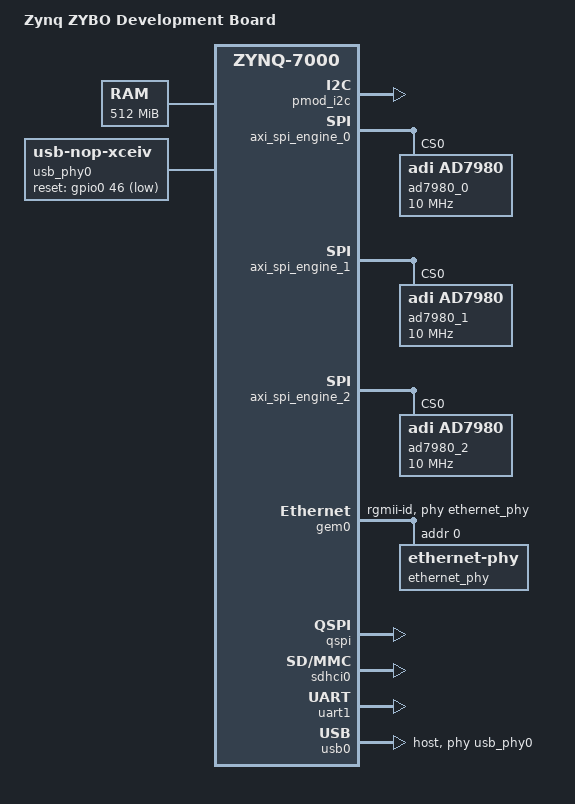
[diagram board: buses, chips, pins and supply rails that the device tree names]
/*
 *  Copyright (C) 2011 - 2014 Xilinx
 *  Copyright (C) 2012 National Instruments Corp.
 *
 * This software is licensed under the terms of the GNU General Public
 * License version 2, as published by the Free Software Foundation, and
 * may be copied, distributed, and modified under those terms.
 *
 * This program is distributed in the hope that it will be useful,
 * but WITHOUT ANY WARRANTY; without even the implied warranty of
 * MERCHANTABILITY or FITNESS FOR A PARTICULAR PURPOSE.  See the
 * GNU General Public License for more details.
 */
/dts-v1/;
#include "zynq-7000.dtsi"

/ {
	model = "Zynq ZYBO Development Board";
	compatible = "digilent,zynq-zybo", "xlnx,zynq-7000";

	aliases {
		ethernet0 = &gem0;
		serial0 = &uart1;
		spi0 = &qspi;
		mmc0 = &sdhci0;
	};

	memory {
		device_type = "memory";
		reg = <0x0 0x20000000>;
	};

	chosen {
		bootargs = "";
		stdout-path = "serial0:115200n8";
	};

	usb_phy0: phy0 {
		compatible = "usb-nop-xceiv";
		#phy-cells = <0>;
		reset-gpios = <&gpio0 46 1>;
	};
};

&clkc {
	ps-clk-frequency = <50000000>;
};

&gem0 {
	status = "okay";
	phy-mode = "rgmii-id";
	phy-handle = <&ethernet_phy>;

	ethernet_phy: ethernet-phy@0 {
		reg = <0>;
	};
};

&qspi {
	status = "okay";
};

&sdhci0 {
	status = "okay";
};

&uart1 {
	status = "okay";
};

&usb0 {
	status = "okay";
	dr_mode = "host";
	usb-phy = <&usb_phy0>;
};

/ {
	fpga_axi: fpga-axi@0 {
		compatible = "simple-bus";
		#address-cells = <0x1>;
		#size-cells = <0x1>;
		ranges;
		interrupt-parent = <&intc>;

            pmod_i2c: i2c@43C00000 {
		compatible = "xlnx,axi-iic-1.01.b", "xlnx,xps-iic-2.00.a";
		interrupt-parent = <&intc>;
		interrupts = <0 56 0x4>;
		reg = <0x43C00000 0x10000>;

		#size-cells = <0>;
		#address-cells = <1>;
            };
		
            rx_dma0: dma@43C10000 {
                    compatible = "adi,axi-dmac-1.00.a";
                    reg = <0x43C10000 0x10000>;
                    #dma-cells = <1>;
                    interrupts = <0 52 0>;
                    clocks = <&clkc 15>;

                    dma-channel {
                            adi,buswidth = <64>;
                            adi,type = <0>;
                    };
            };

            rx_dma1: dma@43C20000 {
                    compatible = "adi,axi-dmac-1.00.a";
                    reg = <0x43C20000 0x10000>;
                    #dma-cells = <1>;
                    interrupts = <0 29 0>;
                    clocks = <&clkc 15>;

                    dma-channel {
                            adi,buswidth = <64>;
                            adi,type = <0>;
                    };
            };

            rx_dma2: dma@43C30000 {
                    compatible = "adi,axi-dmac-1.00.a";
                    reg = <0x43C30000 0x10000>;
                    #dma-cells = <1>;
                    interrupts = <0 28 0>;
                    clocks = <&clkc 15>;

                    dma-channel {
                            adi,buswidth = <64>;
                            adi,type = <0>;
                    };
            };            
            
            axi_spi_engine_0: axi-spi-engine@0x43C40000{
                    compatible = "adi,axi-spi-engine-1.00.a";
                    reg = <0x43C40000 0x1000>;
                    interrupt-parent = <&intc>;
                    interrupts = <0 55 4>;
                    clocks = <&clkc 15 &clkc 15>;
                    clock-names = "s_axi_aclk", "spi_clk";
                    num-cs = <1>;


                    
                    #address-cells = <0x1>;
                    #size-cells = <0x0>;

                    ad7980_0: AD7980-JB@0-jb {
                            compatible = "adi,ad7980";
                            reg = <0>;
                            spi-cpha;
                            spi-cpol;
                            spi-max-frequency = <10000000>;

			    dmas = <&rx_dma0 0>;
			    dma-names = "rx";
			    
                    };
            };

            axi_spi_engine_1: axi-spi-engine@0x43C50000{
                    compatible = "adi,axi-spi-engine-1.00.a";
                    reg = <0x43C50000 0x1000>;
                    interrupt-parent = <&intc>;
                    interrupts = <0 54 4>;
                    clocks = <&clkc 15 &clkc 15>;
                    clock-names = "s_axi_aclk", "spi_clk";
                    num-cs = <1>;


                    
                    #address-cells = <0x1>;
                    #size-cells = <0x0>;

		    ad7980_1: AD7980-JC@1-jc {
                            compatible = "adi,ad7980";
                            reg = <0>;
                            spi-cpha;
                            spi-cpol;
                            spi-max-frequency = <10000000>;

			    dmas = <&rx_dma1 0>;
			    dma-names = "rx";
			    
                    };
            };

            axi_spi_engine_2: axi-spi-engine@0x43C60000{
                    compatible = "adi,axi-spi-engine-1.00.a";
                    reg = <0x43C60000 0x1000>;
                    interrupt-parent = <&intc>;
                    interrupts = <0 53 4>;
                    clocks = <&clkc 15 &clkc 15>;
                    clock-names = "s_axi_aclk", "spi_clk";
                    num-cs = <1>;


                    
                    #address-cells = <0x1>;
                    #size-cells = <0x0>;

		    ad7980_2: AD7980-JD@2-jd {
                            compatible = "adi,ad7980";
                            reg = <0>;
                            spi-cpha;
                            spi-cpol;
                            spi-max-frequency = <10000000>;

			    dmas = <&rx_dma2 0>;
			    dma-names = "rx";
			    
                    };
            };

            
	};
};
